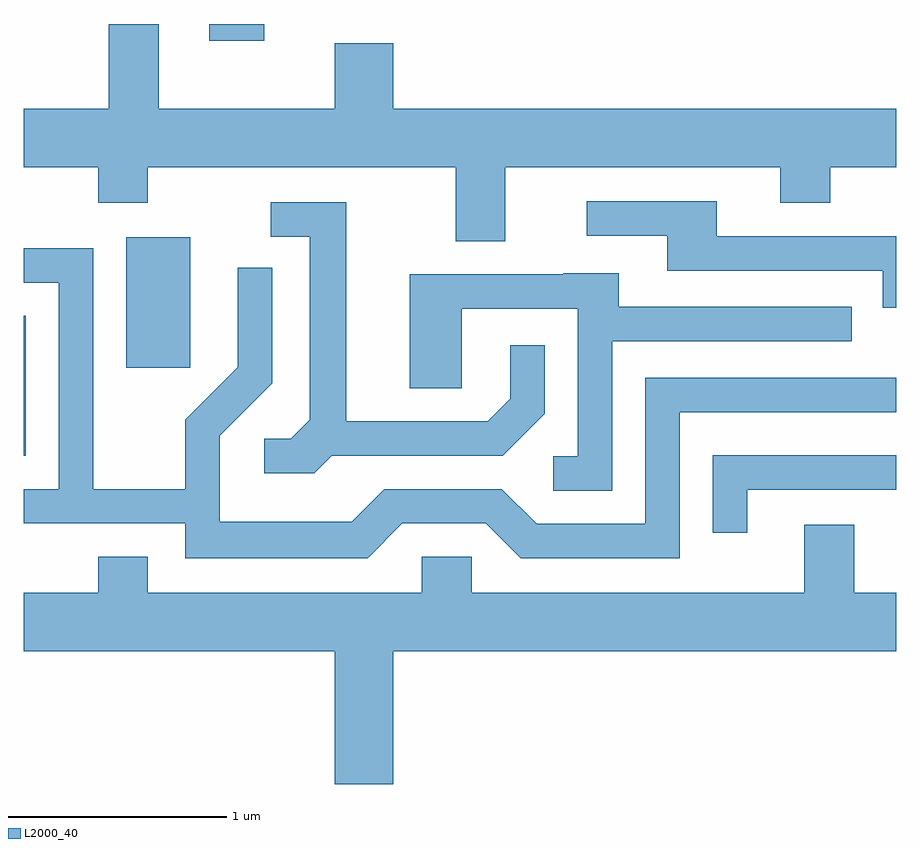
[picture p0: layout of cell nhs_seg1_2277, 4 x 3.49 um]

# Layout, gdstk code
import gdstk
lib = gdstk.Library(unit=1e-6, precision=1e-09)
def R(c, l, rs):  # rectangles x0, y0, x1, y1
    for r in rs: c.add(gdstk.rectangle(r[:2], r[2:], *l))
def P(c, l, *ps):  # polygons
    for p in ps: c.add(gdstk.Polygon(p, *l))
L2000_40 = (2000, 40)

nhs_seg1_2277 = lib.new_cell('nhs_seg1_2277')
R(nhs_seg1_2277, L2000_40, [(253.611,973.731,253.619,974.374), (254.081,974.136,254.374,974.734), (254.461,975.636,254.714,975.712)])
P(nhs_seg1_2277, L2000_40, [(255.819,975.056),(257.081,975.056),(257.081,974.891),(257.309,974.891),(257.309,975.056),(257.611,975.056),(257.611,975.324),(255.304,975.324),(255.304,975.624),(255.036,975.624),(255.036,975.324),(254.229,975.324),(254.229,975.712),(254.001,975.712),(254.001,975.324),(253.611,975.324),(253.611,975.056),(253.951,975.056),(253.951,974.891),(254.179,974.891),(254.179,975.056),(255.591,975.056),(255.591,974.716),(255.819,974.716)],
  [(257.611,974.739),(256.789,974.739),(256.789,974.899),(256.193,974.899),(256.193,974.741),(256.561,974.741),(256.561,974.581),(257.551,974.581),(257.551,974.411),(257.611,974.411)],
  [(255.022,973.731),(255.807,973.731),(255.999,973.924),(255.999,974.238),(255.841,974.238),(255.841,973.992),(255.739,973.889),(255.089,973.889),(255.089,974.894),(254.743,974.894),(254.743,974.736),(254.921,974.736),(254.921,973.897),(254.834,973.809),(254.713,973.809),(254.713,973.651),(254.942,973.651)],
  [(255.347,973.421),(255.729,973.421),(255.889,973.261),(256.619,973.261),(256.619,973.931),(257.611,973.931),(257.611,974.089),(256.461,974.089),(256.461,973.419),(255.962,973.419),(255.802,973.579),(255.264,973.579),(255.114,973.429),(254.509,973.429),(254.509,973.824),(254.749,974.064),(254.749,974.593),(254.591,974.593),(254.591,974.137),(254.351,973.897),(254.351,973.579),(253.929,973.579),(253.929,974.684),(253.611,974.684),(253.611,974.526),(253.771,974.526),(253.771,973.579),(253.611,973.579),(253.611,973.421),(254.351,973.421),(254.351,973.261),(255.187,973.261)],
  [(256.309,974.256),(257.408,974.256),(257.408,974.414),(256.339,974.414),(256.339,974.569),(256.085,974.569),(256.085,974.564),(255.381,974.564),(255.381,974.041),(255.619,974.041),(255.619,974.406),(256.151,974.406),(256.151,973.729),(256.038,973.729),(256.038,973.571),(256.309,973.571)],
  [(256.929,973.576),(257.611,973.576),(257.611,973.734),(256.771,973.734),(256.771,973.378),(256.929,973.378)],
  [(255.304,972.836),(257.611,972.836),(257.611,973.104),(257.419,973.104),(257.419,973.414),(257.191,973.414),(257.191,973.104),(255.664,973.104),(255.664,973.269),(255.436,973.269),(255.436,973.104),(254.179,973.104),(254.179,973.269),(253.951,973.269),(253.951,973.104),(253.611,973.104),(253.611,972.836),(255.036,972.836),(255.036,972.226),(255.304,972.226)])

lib.write_gds('nhs_seg1_2277.gds')
